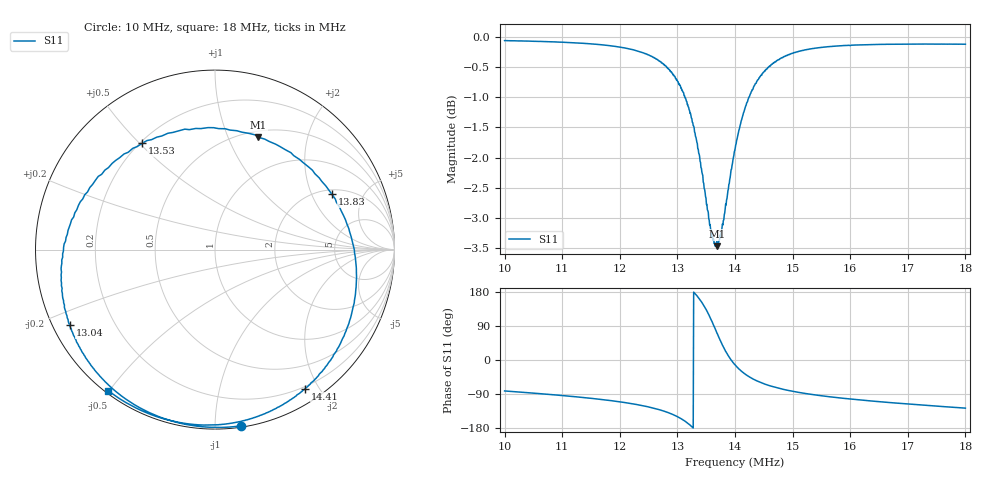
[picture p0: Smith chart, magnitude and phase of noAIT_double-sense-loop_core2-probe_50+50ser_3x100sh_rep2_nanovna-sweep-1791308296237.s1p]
! NanoVNA Web complex sweep
! Processing: unaveraged complex samples; linear segment spacing; no smoothing
# Hz S RI R 50
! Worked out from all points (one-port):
!   1010 points, 10 MHz to 18 MHz, reference 50 ohm
!   lowest |S11| = -3.5 dB at 13.69 MHz (marker M1), VSWR 5.08, Z = 28.4 + j64.8 ohm
!   |S11| at or under -10 dB: nowhere
!   S11 on the Smith chart (normalised r, x): 10 MHz: 0.01, -1.16; 13.04 MHz: 0.05, -0.24; 13.53 MHz: 0.21, +0.51; 13.83 MHz: 2.23, +2.85; 14.41 MHz: 0.18, -1.83; 18 MHz: 0.01, -0.50
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1e7  0.1434 -0.9823
1.100698e7  -0.0666 -0.9874
1.200604e7  -0.3432 -0.9183
1.233906e7  -0.4682 -0.8521
1.261657e7  -0.5935 -0.7545
1.282272e7  -0.6996 -0.6325
1.300509e7  -0.7942 -0.4608
1.303681e7  -0.8085 -0.4215
1.317953e7  -0.8558 -0.2008
1.332225e7  -0.8188 0.1066
1.342533e7  -0.6821 0.363
1.35284e7  -0.4054 0.5927
1.36077e7  -0.1067 0.6751
1.369491e7  0.2419 0.6261
1.375835e7  0.4707 0.5027
1.382971e7  0.6514 0.3076
1.3909e7  0.7591 0.0698
1.400414e7  0.7875 -0.185
1.409929e7  0.7495 -0.397
1.419444e7  0.6805 -0.5549
1.429752e7  0.5969 -0.679
1.440852e7  0.5018 -0.774
1.466225e7  0.3161 -0.897
1.50032e7  0.1238 -0.9611
1.544722e7  -0.0567 -0.9776
1.600225e7  -0.2201 -0.9584
1.700131e7  -0.434 -0.8856
1.800036e7  -0.5936 -0.7872
